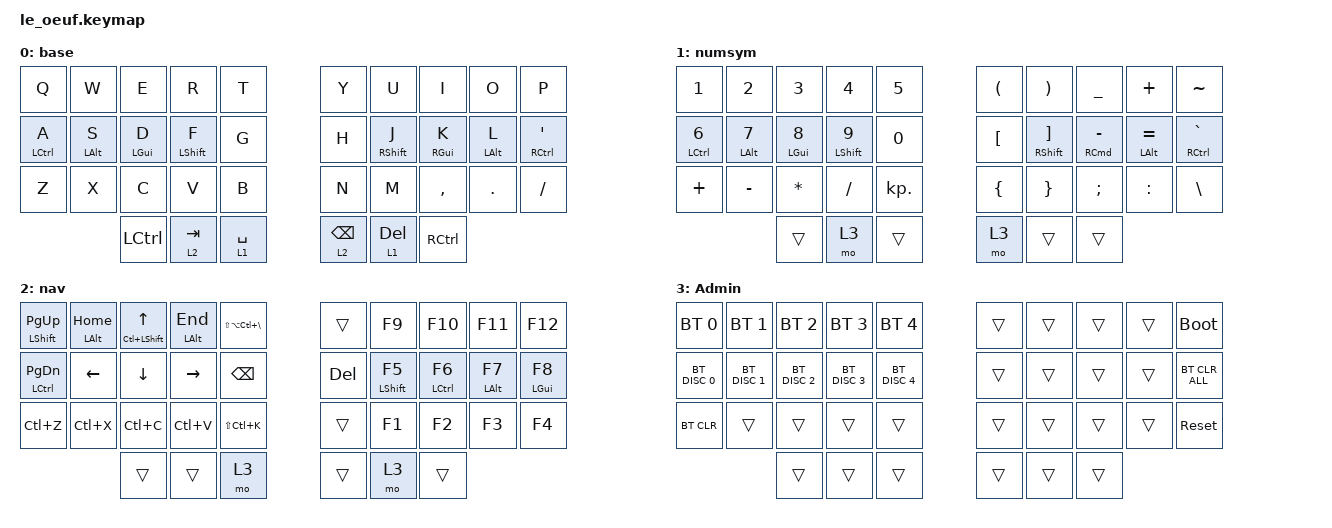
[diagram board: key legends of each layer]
/*
 * Copyright (c) 2020 The ZMK Contributors
 *
 * SPDX-License-Identifier: MIT
 */

#include <behaviors.dtsi>
#include <dt-bindings/zmk/bt.h>
#include <dt-bindings/zmk/keys.h>

&soft_off { hold-time-ms = <5000>; };

/ {
    combos {
        compatible = "zmk,combos";

        left_enter {
            bindings = <&kp ENTER>;
            key-positions = <1 12 23>;
        };

        right_enter {
            bindings = <&kp ENTER>;
            key-positions = <8 17 26>;
        };

        esc {
            bindings = <&kp ESCAPE>;
            key-positions = <0 1>;
        };

        tab {
            bindings = <&kp TAB>;
            key-positions = <3 14>;
        };

        shift_tab {
            bindings = <&kp LS(TAB)>;
            key-positions = <2 13>;
        };

        hold_space {
            bindings = <&kp SPACE>;
            key-positions = <31 23>;
        };

        caps_word {
            bindings = <&caps_word>;
            key-positions = <14 15>;
        };

        toggle_nav {
            bindings = <&tog 2>;
            key-positions = <11 2 13>;
            layers = <0 2>;
            require-prior-idle-ms = <350>;
        };

        jsdoc {
            bindings = <&jsdoc>;
            key-positions = <29 28>;
        };

        caps_lock {
            bindings = <&kp CAPSLOCK>;
            key-positions = <13 12 16 17>;
        };

        screen_shot {
            bindings = <&kp LS(LG(N5))>;
            key-positions = <0 11>;
        };

        reset {
            bindings = <&sys_reset>;
            key-positions = <0 31 32 9>;
        };

        bootloader {
            bindings = <&bootloader>;
            key-positions = <4 14 5 15>;
        };

        bt_clear_all {
            bindings = <&bt BT_CLR_ALL>;
            key-positions = <20 21 29 28 22 27>;
        };
    };

    behaviors {
        hm: HOMEROW_MODS {
            compatible = "zmk,behavior-hold-tap";
            label = "HOMEROW_MODS";
            bindings = <&kp>, <&kp>;

            #binding-cells = <2>;
            tapping-term-ms = <300>;
            quick-tap-ms = <0>;
            flavor = "balanced";
            require-prior-idle-ms = <250>;
        };

        hs: HOMEROW_SHIFT {
            compatible = "zmk,behavior-hold-tap";
            label = "HOMEROW_SHIFT";
            bindings = <&kp>, <&kp>;

            #binding-cells = <2>;
            tapping-term-ms = <250>;
            quick-tap-ms = <0>;
            flavor = "balanced";
            require-prior-idle-ms = <0>;
        };
    };

    macros {
        jsdoc: jsdoc {
            compatible = "zmk,behavior-macro";
            #binding-cells = <0>;
            bindings = <&kp FSLH &kp STAR &kp STAR &kp SPACE>;
            label = "JSDOC";
        };
    };

    keymap {
        compatible = "zmk,keymap";

        base {
            // -----------------------------------------------------------------------------------------
            // |  Q  |  W  |  E  |  R  |  T   |  Y  |  U   |  I  |  O  |  P  |
            // |  A  |  S  |  D  |  F  |  G   |  H  |  J   |  K  |  L  |  ;  |
            // |  Z  |  X  |  C  |  V  |  B   |  N  |  M   |  ,  |  .  |  /  |
            //             | CTL | ALT |  ENT | SPC | GUI  | CTL |

            bindings = <
&kp Q        &kp W       &kp E           &kp R        &kp T            &kp Y         &kp U        &kp I            &kp O       &kp P
&hm LCTRL A  &hm LALT S  &hm LEFT_GUI D  &hm LSHFT F  &kp G            &kp H         &hm RSHFT J  &hm RIGHT_GUI K  &hm LALT L  &hm RCTRL SINGLE_QUOTE
&kp Z        &kp X       &kp C           &kp V        &kp B            &kp N         &kp M        &kp COMMA        &kp DOT     &kp FSLH
&kp LCTRL    &lt 2 TAB   &lt 1 SPACE                  &lt 2 BACKSPACE  &lt 1 DELETE  &kp RCTRL
            >;
        };

        numsym {
            // -----------------------------------------------------------------------------------------
            // |  1  |  2  |  3  |  4  |  5  |  6  |  7  |  8  |  9  |  0  |
            // |  !  |  @  |  #  |  $  |  %  |  ^  |  &  |  *  |  =  |  -  |
            // |  \  |  {  |  [  |  (  |  _  |  )  |  ]  |  }  |  .  |  `  |
            //             | CTL | ALT |  ENT | SPC | GUI  | CTL |

            bindings = <
&kp N1              &kp N2           &kp N3           &kp N4             &kp N5      &kp LEFT_PARENTHESIS  &kp RIGHT_PARENTHESIS    &kp UNDER       &kp PLUS            &kp TILDE
&hm LCTRL NUMBER_6  &hm LEFT_ALT N7  &hm LEFT_GUI N8  &hm LEFT_SHIFT N9  &kp N0      &kp LEFT_BRACKET      &hm RSHFT RIGHT_BRACKET  &hm RCMD MINUS  &hm LEFT_ALT EQUAL  &hm RCTRL GRAVE
&kp PLUS            &kp MINUS        &kp ASTERISK     &kp SLASH          &kp KP_DOT  &kp LEFT_BRACE        &kp RIGHT_BRACE          &kp SEMICOLON   &kp COLON           &kp BACKSLASH
&trans              &mo 3            &trans                              &mo 3       &trans                &trans
            >;
        };

        nav {
            // -----------------------------------------------------------------------------------------
            // |BTCLR| RST |     |      |     |      | PGDN |  UP  | PGUP |      |
            // | BT0 |CMENU|     |      |     | HOME | LEFT | DOWN |RIGHT | END  |
            // | BT1 | BOOT|     |      |     |      |      |      |      |      |
            //             | CTL | ALT |  ENT | SPC | GUI  | CTL |

            bindings = <
&mt LEFT_SHIFT PG_UP  &mt LEFT_ALT HOME  &mt LC(LEFT_SHIFT) UP_ARROW  &mt LEFT_ALT END  &kp LS(LA(LC(BACKSLASH)))  &trans      &kp F9        &kp F10       &kp F11          &kp F12
&mt LCTRL PAGE_DOWN   &kp LEFT_ARROW     &kp DOWN                     &kp RIGHT         &kp BACKSPACE              &kp DELETE  &hs LSHFT F5  &hm LCTRL F6  &hm LEFT_ALT F7  &hm LEFT_GUI F8
&kp LC(Z)             &kp LC(X)          &kp LC(C)                    &kp LC(V)         &kp LS(LC(K))              &trans      &kp F1        &kp F2        &kp F3           &kp F4
&trans                &trans             &mo 3                                          &trans                     &mo 3       &trans
            >;
        };

        Admin {
            bindings = <
&bt BT_SEL 0   &bt BT_SEL 1   &bt BT_SEL 2   &bt BT_SEL 3   &bt BT_SEL 4   &trans  &trans  &trans  &trans  &bootloader
&bt BT_DISC 0  &bt BT_DISC 1  &bt BT_DISC 2  &bt BT_DISC 3  &bt BT_DISC 4  &trans  &trans  &trans  &trans  &bt BT_CLR_ALL
&bt BT_CLR     &trans         &trans         &trans         &trans         &trans  &trans  &trans  &trans  &sys_reset
&trans         &trans         &trans                        &trans         &trans  &trans
            >;
        };
    };
};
